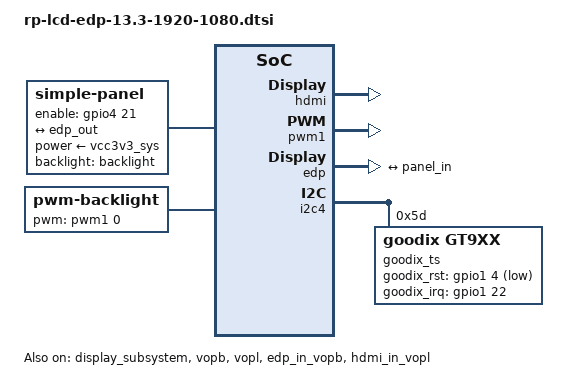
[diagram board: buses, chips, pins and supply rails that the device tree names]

/ {
	panel: panel {
		compatible = "simple-panel";
		backlight = <&backlight>;
		power-supply = <&vcc3v3_sys>;
		enable-gpios = <&gpio4 21 GPIO_ACTIVE_HIGH>;
		prepare-delay-ms = <20>;
		enable-delay-ms = <20>;
		//reset  = <&gpio1 0 GPIO_ACTIVE_HIGH>;
		reset-delay-ms = <200>;

		display-timings {
			native-mode = <&timing1>;

			timing0: timing0 {//EDP 13.3
				clock-frequency = <150000000>;
				hactive = <1920>;
				vactive = <1080>;
				hfront-porch = <12>;
				hsync-len = <16>;
				hback-porch = <48>;
				vfront-porch = <8>;
				vsync-len = <4>;
				vback-porch = <8>;
				hsync-active = <0>;
				vsync-active = <0>;
				de-active = <0>;
				pixelclk-active = <0>;
			};
			timing1: timing1 {// EDP 15.6   LP156WF6
				clock-frequency = <138000000>;
				hactive = <1920>;
				vactive = <1080>;
				hfront-porch = <48>;
				hsync-len = <32>;
				hback-porch = <80>;
				vfront-porch = <3>;
				vsync-len = <5>;
				vback-porch = <23>;
				hsync-active = <0>;
				vsync-active = <0>;
				de-active = <0>;
				pixelclk-active = <0>;
			};
		};

		ports {
			panel_in: endpoint {
				remote-endpoint = <&edp_out>;
			};
		};
	};
	
	backlight: backlight {
		status = "okay";
		compatible = "pwm-backlight";
		pwms = <&pwm1 0 25000 0>;
		brightness-levels = <

			  0   1   2   3   4   5   6   7
			  8   9  10  11  12  13  14  15
			 16  17  18  19  20  21  22  23
			 24  25  26  27  28  29  30  31
			 32  33  34  35  36  37  38  39
			 40  41  42  43  44  45  46  47
			 48  49  50  51  52  53  54  55
			 56  57  58  59  60  61  62  63
			 64  65  66  67  68  69  70  71
			 72  73  74  75  76  77  78  79
			 80  81  82  83  84  85  86  87
			 88  89  90  91  92  93  94  95
			 96  97  98  99 100 101 102 103
			104 105 106 107 108 109 110 111
			112 113 114 115 116 117 118 119
			120 121 122 123 124 125 126 127
			128 129 130 131 132 133 134 135
			136 137 138 139 140 141 142 143
			144 145 146 147 148 149 150 151
			152 153 154 155 156 157 158 159
			160 161 162 163 164 165 166 167
			168 169 170 171 172 173 174 175
			176 177 178 179 180 181 182 183
			184 185 186 187 188 189 190 191
			192 193 194 195 196 197 198 199
			200 201 202 203 204 205 206 207
			208 209 210 211 212 213 214 215
			216 217 218 219 220 221 222 223
			224 225 226 227 228 229 230 231
			232 233 234 235 236 237 238 239
			240 241 242 243 244 245 246 247
			248 249 250 251 252 253 254 255>;
			

		default-brightness-level = <255>;
	};

	//bill  
        rpdzkj_config {
                compatible = "rp_config";
                user_version = "rpdzkj";
                system_rotate = "0";
                back_camera_rotate = "0";
                front_camera_rotate = "0";
                lcd_density = "160";
                language = "zh-CN";   //zh-CN //en-US
                time_zone = "Asia/Shanghai"; //Asia/Shanghai = +8   //Europe/London  = +0
                not_navigation_bar = "false";
                not_status_bar = "false";
                default_launcher = "true";
                has_root = "true";  //true//false
                usb_not_permission = "true";  
                usb_camera_only_front = "false";
                gps_use = "false";
                gps_serial_port = "/dev/ttyS4"; //UART4
                status = "okay";
        };

};

&hdmi {
	#address-cells = <1>;
	#size-cells = <0>;
	#sound-dai-cells = <0>;
	ddc-i2c-scl-high-time-ns = <9625>;
	ddc-i2c-scl-low-time-ns = <10000>;
	status = "okay";
};

&display_subsystem {
	status = "okay";
	ports = <&vopb_out>, <&vopl_out>;
	logo-memory-region = <&drm_logo>;
	route {
		route_hdmi: route-hdmi {
			status = "okay";
			logo,uboot = "logo.bmp";
			logo,kernel = "logo_kernel.bmp";
			logo,mode = "center";
			charge_logo,mode = "center";
			connect = <&vopl_out_hdmi>;
		};

		route_dsi: route-dsi {
			status = "disabled";
			logo,uboot = "logo.bmp";
			logo,kernel = "logo_kernel.bmp";
			logo,mode = "center";
			charge_logo,mode = "center";
			connect = <&vopb_out_dsi>;
		};

		route_dsi1: route-dsi1 {
			status = "disabled";
			logo,uboot = "logo.bmp";
			logo,kernel = "logo_kernel.bmp";
			logo,mode = "fullscreen";
			charge_logo,mode = "center";
			connect = <&vopl_out_dsi1>;
		};

		route_edp: route-edp {
			status = "okay";
			logo,uboot = "logo.bmp";
			logo,kernel = "logo_kernel.bmp";
			logo,mode = "center";
			charge_logo,mode = "center";
			connect = <&vopb_out_edp>;
		};
	};
};

&pwm1 {
	status = "okay";
};

&edp {
	status = "okay";
	force-hpd;

	ports {
		port@1 {
			reg = <1>;

			edp_out: endpoint {
				remote-endpoint = <&panel_in>;
			};
		};
	};
};
&vopb {
        assigned-clocks = <&cru DCLK_VOP0_DIV>;
        assigned-clock-parents = <&cru PLL_CPLL>;
        //assigned-clock-parents = <&cru PLL_VPLL>;
        status = "okay";
};

&vopb_mmu {
        status = "okay";
};

&vopl {
        assigned-clocks = <&cru DCLK_VOP1_DIV>;
        assigned-clock-parents = <&cru PLL_VPLL>;
        //assigned-clock-parents = <&cru PLL_CPLL>;
        status = "okay";
};

&vopl_mmu {
        status = "okay";
};

&edp_in_vopl { 
        status = "disabled"; 
}; 
&edp_in_vopb { 
        status = "okay"; 
}; 

 
&hdmi_in_vopb { 
        status = "disabled"; 
}; 
&hdmi_in_vopl {
	status = "okay";
};


&route_edp { 
        status = "okay"; 
        //status = "disabled"; 
}; 
 
&route_hdmi { 
        status = "okay"; 
        //status = "disabled"; 
}; 


&i2c4 {
        status = "okay";

        goodix_ts@5d {
        compatible = "goodix,gt9xx";
        reg = <0x5d>;
        gtp_resolution_x = <1920>;
        gtp_resolution_y = <1080>;
        gtp_int_tarigger = <1>;
        gtp_change_x2y = <0>;
        gtp_overturn_x = <0>;
        gtp_overturn_y = <0>;
        gtp_send_cfg = <1>;
        goodix_rst_gpio = <&gpio1 4  GPIO_ACTIVE_LOW>;
        goodix_irq_gpio = <&gpio1 22 IRQ_TYPE_EDGE_RISING>;
   goodix,cfg-group0 = [
	
	64 80 07 38 04 0A 3D 00 01 C8 28 0F
	55 37 03 05 00 00 00 00 00 00 00 18
	1A 1E 14 90 30 AA 25 27 0F 0A 00 00
	00 5A 03 11 00 00 00 00 00 00 00 00
	00 25 00 19 37 94 D5 02 08 14 00 04
	9B 1B 00 8E 1F 00 80 25 00 76 2B 00
	6E 32 00 6E 00 00 00 00 00 00 00 00
	00 00 00 00 00 00 00 00 00 00 00 00
	00 00 00 00 00 00 00 10 00 00 00 00
	00 00 00 00 19 18 17 16 15 14 11 10
	0F 0E 0D 0C 09 08 07 06 05 04 01 00
	00 00 00 00 00 00 00 00 00 00 00 02
	04 06 07 08 0A 0C 0D 0E 0F 10 11 12
	13 14 19 1B 1C 1E 1F 20 21 22 23 24
	25 26 27 28 29 2A 00 00 00 00 00 00
	00 00 00 00 B7 01];
        };

};

